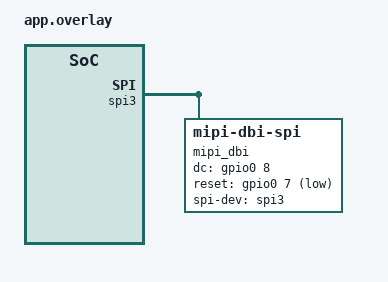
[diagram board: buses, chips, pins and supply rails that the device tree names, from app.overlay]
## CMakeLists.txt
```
cmake_minimum_required(VERSION 3.20.0)
find_package(Zephyr REQUIRED HINTS $ENV{ZEPHYR_BASE})

project(display)

target_sources(app PRIVATE 
    src/main.c
    src/job.c
)
```

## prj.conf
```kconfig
CONFIG_GPIO=y
# ===== 串口 =====
CONFIG_SERIAL=y
CONFIG_CONSOLE=y
CONFIG_PRINTK=y

# ===== SPI =====
CONFIG_SPI=y
CONFIG_MAIN_STACK_SIZE=4096


# ===== 显示 =====
CONFIG_DISPLAY=y
CONFIG_DISPLAY_LOG_LEVEL_INF=y

# ===== MIPI DBI =====
CONFIG_MIPI_DBI=y

# ===== GC9A01 驱动 =====
CONFIG_GC9X01X=y

# ===== LVGL =====
CONFIG_LVGL=y
CONFIG_LV_Z_MEM_POOL_SIZE=116736
CONFIG_SYS_HEAP_RUNTIME_STATS=y


# ===== 日志 =====
CONFIG_LOG=y
CONFIG_LOG_DEFAULT_LEVEL=3
```

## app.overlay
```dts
#include <zephyr/dt-bindings/display/panel.h>

/ {
    chosen {
        zephyr,display = &gc9a01;
    };
};

/* ⭐ 用 SPI3 */
&spi3 {
    status = "okay";
    pinctrl-0 = <&spim3_default>;
    pinctrl-names = "default";

    cs-gpios = <&gpio0 38 GPIO_ACTIVE_LOW>;   /* ⚠️ 对应 pinctrl */

    mipi_dbi: mipi_dbi {
        compatible = "zephyr,mipi-dbi-spi";
        status = "okay";

        spi-dev = <&spi3>;

        dc-gpios = <&gpio0 8 GPIO_ACTIVE_HIGH>;
        reset-gpios = <&gpio0 7 GPIO_ACTIVE_LOW>;

        write-only;

        #address-cells = <1>;
        #size-cells = <0>;

        gc9a01: gc9x01x@0 {
            compatible = "galaxycore,gc9x01x";
            reg = <0>;

            mipi-max-frequency = <40000000>;
            pixel-format = <PANEL_PIXEL_FORMAT_RGB_565>;

            width = <240>;
            height = <240>;

            display-inversion;

            status = "okay";
        };
    };
};
```

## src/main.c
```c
#include <zephyr/kernel.h>
#include <zephyr/device.h>
#include <zephyr/drivers/display.h>
#include <zephyr/sys/printk.h>
#include "lvgl.h"


extern lv_font_t job;
#define LV_USE_UNICODE 1

int main(void)
{
    const struct device *display_dev;

    /* 获取 display 设备 */
    display_dev = DEVICE_DT_GET(DT_CHOSEN(zephyr_display));
    if (!device_is_ready(display_dev)) {
        printk("Display not ready\n");
        return 0;
    }

    printk("Display ready\n");

    /* ⭐ 打开屏幕（非常关键） */
    display_blanking_off(display_dev);

    /* ⭐ 等待 LVGL 初始化完成 */
    k_msleep(300);

    /* 获取当前屏幕 */
    lv_obj_t *scr = lv_scr_act();
    if (!scr) {
        printk("LVGL not ready\n");
        return 0;
    }

    /* ⭐ 设置背景（白色） */
    lv_obj_set_style_bg_color(scr, lv_color_hex(0x000000), 0);

    /* ⭐ 创建标签 */
    lv_obj_t *label = lv_label_create(scr);

    /* ⭐ 设置字体颜色（蓝色） */
    lv_obj_set_style_text_color(label, lv_color_hex(0x0000FF), 0);

    lv_obj_set_style_text_font(label, &job, 0);
    /* ⭐ 设置文字 */
    lv_label_set_text(label, "接毕设\n 电子设计\n 物联网设计\n 智能家居 \n RTOS \nSTM32 \nESP32");

    /* ⭐ 居中 */
    lv_obj_center(label);

    /* ⭐ 主循环 */
    while (1) {
        lv_timer_handler();   // LVGL 刷新
        k_msleep(10);
    }

    return 0;
}
```
